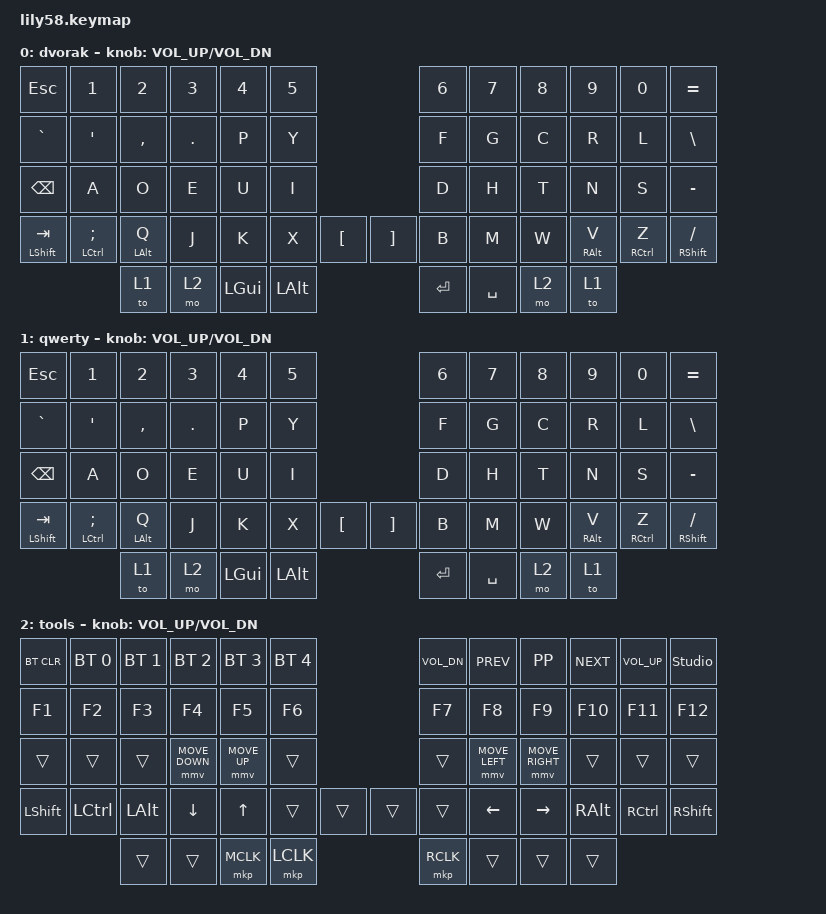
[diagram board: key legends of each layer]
/*
 * Copyright (c) 2020 The ZMK Contributors
 *
 * SPDX-License-Identifier: MIT
 */

#include <behaviors.dtsi>
#include <dt-bindings/zmk/keys.h>
#include <dt-bindings/zmk/bt.h>
#include <dt-bindings/zmk/ext_power.h>
#include <dt-bindings/zmk/pointing.h>

&mt {
    //flavor = "hold-preferred";
    tapping-term-ms = <180>;
};

/ {
    keymap {
        compatible = "zmk,keymap";

        dvorak {
// --------------------------------------------------------------------------------------------------------------------------------------------------------------
//                                                                        Layer 0 - Dvorak                                                                      |
// --------------------------------------------------------------------------------------------------------------------------------------------------------------
// |    ESC   |    1     |     2    |    3     |    4     |    5     |                        |     6    |    7     |    8     |     9    |    0     |     =    |
// |     `    |    '     |     ,    |    .     |    P     |    Y     |                        |     F    |    G     |    C     |     R    |    L     |     \    |
// |    BKSP  |    A     |     O    |    E     |    U     |    I     |                        |     D    |    H     |    T     |     N    |    S     |     -    |
// | TAB_SHFT |  ;_CTRL  |   Q_ALT  |    J     |    K     |    X     |    "["   |  |    "]"   |     B    |    M     |    W     |   V_ALT  |  Z_CTRL  |  ?_SHFT  |
//                       |    TO1   |   MT2    |    GUI   |   ALT    |                        |   ENTER  |   SPACE  |    MT1   |    TO1   |
            bindings = <
&kp ESC         &kp  N1    &kp   N2    &kp N3      &kp N4     &kp N5                             &kp N6     &kp N7      &kp N8     &kp N9     &kp N0   &kp EQUAL
&kp GRAVE       &kp SQT    &kp COMMA   &kp DOT     &kp P      &kp Y                              &kp F      &kp G       &kp C      &kp R      &kp L    &kp BSLH
&kp BSPC        &kp  A     &kp   O     &kp E       &kp U      &kp I                              &kp D      &kp H       &kp T      &kp N      &kp S    &kp MINUS
&mt LSHFT TAB &mt LCTRL SEMI &mt LALT Q &kp J      &kp K      &kp X    &kp LBKT     &kp RBKT     &kp B      &kp M       &kp W   &mt RALT V  &mt RCTRL Z &mt RSHFT FSLH
                           &to 1       &mo 2       &kp LGUI   &kp LALT                           &kp RET    &kp SPACE   &mo 2      &to 1
            >;

            sensor-bindings = <&inc_dec_kp C_VOL_UP C_VOL_DN>;
        };

        qwerty {
// --------------------------------------------------------------------------------------------------------------------------------------------------------------
//                                                                        Layer 1 - Qwerty                                                                      |
// --------------------------------------------------------------------------------------------------------------------------------------------------------------
// |    ESC   |    1     |     2    |    3     |    4     |    5     |                        |     6    |    7     |    8     |     9    |    0     |     =    |
// |     `    |    Q     |     W    |    E     |    R     |    T     |                        |     Y    |    U     |    I     |     O    |    P     |     \    |
// |    BKSP  |    A     |     S    |    D     |    F     |    G     |                        |     H    |    J     |    K     |     L    |    ;     |     '    |
// | TAB_SHFT |  Z_CTRL  |   X_ALT  |    C     |    V     |    B     |    "["   |  |    "]"   |     N    |    M     |    ,     |   ._ALT  |  /_CTRL  |  -_SHFT  |
//                       |    TO1   |   MT2    |    GUI   |   ALT    |                        |   ENTER  |   SPACE  |    MT1   |    TO1   |
            bindings = <
&kp ESC         &kp  N1    &kp   N2    &kp N3      &kp N4     &kp N5                             &kp N6     &kp N7      &kp N8     &kp N9     &kp N0   &kp EQUAL
&kp GRAVE       &kp SQT    &kp COMMA   &kp DOT     &kp P      &kp Y                              &kp F      &kp G       &kp C      &kp R      &kp L    &kp BSLH
&kp BSPC        &kp  A     &kp   O     &kp E       &kp U      &kp I                              &kp D      &kp H       &kp T      &kp N      &kp S    &kp MINUS
&mt LSHFT TAB &mt LCTRL SEMI &mt LALT Q &kp J      &kp K      &kp X    &kp LBKT     &kp RBKT     &kp B      &kp M       &kp W   &mt RALT V  &mt RCTRL Z &mt RSHFT FSLH
                           &to 1       &mo 2       &kp LGUI   &kp LALT                           &kp RET    &kp SPACE   &mo 2      &to 1
            >;

            sensor-bindings = <&inc_dec_kp C_VOL_UP C_VOL_DN>;
        };

        tools {
// --------------------------------------------------------------------------------------------------------------------------------------------------------------
//                                                                        Layer 2 - Tools                                                                       |
// --------------------------------------------------------------------------------------------------------------------------------------------------------------
// |  BT_CLR  |   BT_0   |   BT_1   |   BT_2   |   BT_3   |   BT_4   |                        |  VOL_DWN |  MD_PREV | MD_PLAY  |  MD_NXT  |  VOL_UP  |  UNLOCK  |
// |    F1    |    F2    |    F3    |    F4    |    F5    |    F6    |                        |    F7    |    F8    |    F9    |    F10   |    F11   |   F12    |
// |          |          |          |  MS_DWN  |   MS_UP  |          |                        |          |  MS_LFT  |  MS_RGH  |          |          |          |
// |   SHFT   |   CTRL   |    ALT   | DWN_ARR  |  UP_ARR  |          |          |  |          |          | LFT_ARR  | RGHT_ARR |    ALT   |   CTRL   |   SHFT   |
//                       |          |          |          |   LCLK   |                        |   RCLK   |   MCLK   |          |          |
            bindings = <
&bt BT_CLR  &bt BT_SEL 0 &bt BT_SEL 1 &bt BT_SEL 2 &bt BT_SEL 3 &bt BT_SEL 4                  &kp K_VOL_DN &kp K_PREV &kp K_PP &kp K_NEXT &kp K_VOL_UP &studio_unlock
&kp F1          &kp F2      &kp F3      &kp F4    &kp F5     &kp F6                              &kp F7     &kp F8     &kp F9     &kp F10    &kp F11   &kp F12
&trans          &trans   &trans  &mmv MOVE_DOWN &mmv MOVE_UP  &trans                            &trans  &mmv MOVE_LEFT &mmv MOVE_RIGHT &trans &trans   &trans
&kp LSHFT     &kp LCTRL   &kp LALT &kp DOWN_ARROW &kp UP_ARROW &trans   &trans        &trans    &trans &kp LEFT_ARROW &kp RIGHT_ARROW &kp RALT &kp RCTRL &kp RSHFT
                           &trans     &trans    &mkp MCLK   &mkp LCLK                          &mkp RCLK    &trans     &trans    &trans
            >;

            sensor-bindings = <&inc_dec_kp C_VOL_UP C_VOL_DN>;
        };
    };
};
